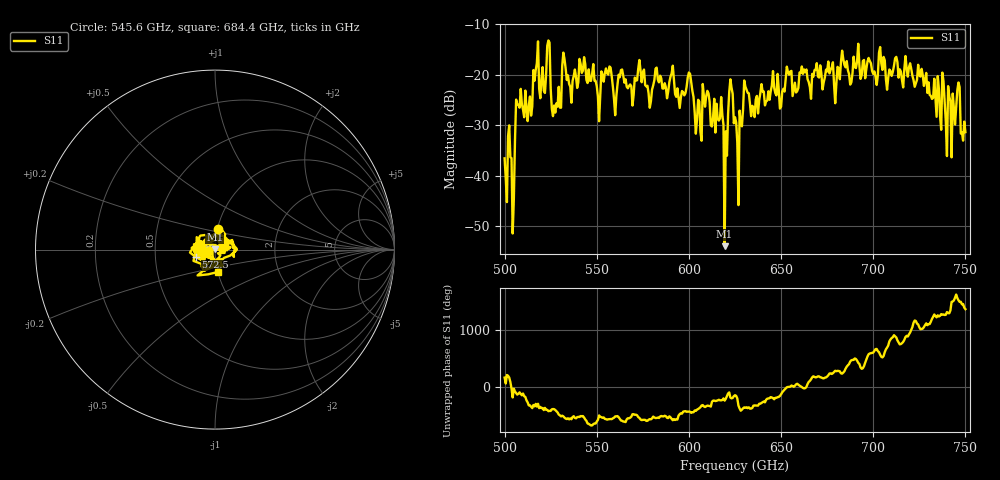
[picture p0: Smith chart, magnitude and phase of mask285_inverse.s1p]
!Created with skrf (http://scikit-rf.org).
# GHz S MA R 50.0
!freq magS11 angS11
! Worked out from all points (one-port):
!   401 points, 500 GHz to 750 GHz, reference 50 ohm
!   lowest |S11| = -54.0 dB at 619.4 GHz (marker M1), VSWR 1.00, Z = 49.9 + j0.159 ohm
!   |S11| at or under -10 dB: start of sweep to end of sweep
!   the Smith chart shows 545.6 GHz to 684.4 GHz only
!   S11 on the Smith chart (normalised r, x): 545.6 GHz: 1.00, +0.23; 572.5 GHz: 0.80, -0.07; 684.4 GHz: 1.01, -0.25
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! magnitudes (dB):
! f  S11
! 500 GHz  -36.6
! 504.4 GHz  -51.5
! 507.5 GHz  -26.0
! 513.8 GHz  -24.3
! 516.9 GHz  -19.1
! 520.6 GHz  -18.5
! 523.8 GHz  -13.2
! 526.9 GHz  -26.1
! 531.2 GHz  -18.3
! 545.6 GHz  -18.9
! 562.5 GHz  -20.5
! 572.5 GHz  -18.8
! 593.8 GHz  -22.7
! 605.6 GHz  -25.3
! 608.8 GHz  -26.3
! 617.5 GHz  -24.4
! 619.4 GHz  -54.0
! 622.5 GHz  -20.9
! 625 GHz  -28.4
! 627.5 GHz  -27.1
! 631.2 GHz  -22.9
! 656.2 GHz  -24.2
! 684.4 GHz  -18.0
! 687.5 GHz  -21.9
! 718.8 GHz  -20.4
! 741.2 GHz  -24.3
! 745.6 GHz  -23.0
! 750 GHz  -31.4
